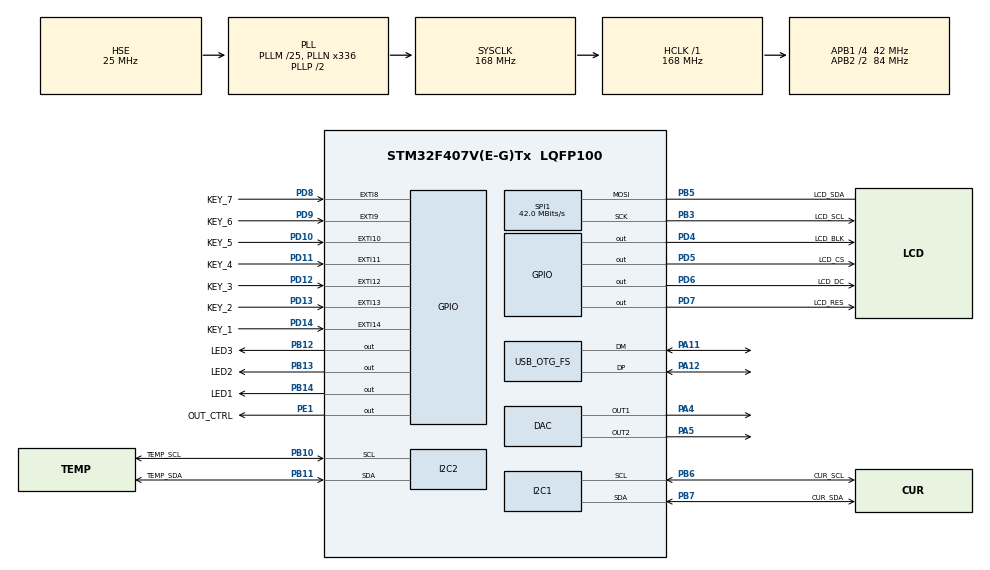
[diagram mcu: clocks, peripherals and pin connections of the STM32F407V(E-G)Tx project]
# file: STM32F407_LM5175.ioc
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Dma.Request0=SPI1_TX
Dma.SPI1_TX.0.Direction=DMA_MEMORY_TO_PERIPH
Dma.SPI1_TX.0.FIFOMode=DMA_FIFOMODE_DISABLE
Dma.SPI1_TX.0.Instance=DMA2_Stream3
Dma.SPI1_TX.0.MemDataAlignment=DMA_MDATAALIGN_BYTE
Dma.SPI1_TX.0.MemInc=DMA_MINC_ENABLE
Dma.SPI1_TX.0.Mode=DMA_NORMAL
Dma.SPI1_TX.0.PeriphDataAlignment=DMA_PDATAALIGN_BYTE
Dma.SPI1_TX.0.PeriphInc=DMA_PINC_DISABLE
Dma.SPI1_TX.0.Priority=DMA_PRIORITY_LOW
I2C2.I2C_Mode=I2C_Standard
Mcu.Family=STM32F4
Mcu.Name=STM32F407V(E-G)Tx
Mcu.Package=LQFP100
NVIC.DMA2_Stream3_IRQn=true\:0\:0\:false\:false\:true\:false\:true\:true
NVIC.EXTI15_10_IRQn=true\:0\:0\:false\:false\:true\:true\:true\:true
NVIC.EXTI9_5_IRQn=true\:0\:0\:false\:false\:true\:true\:true\:true
NVIC.OTG_FS_IRQn=true\:0\:0\:false\:false\:true\:true\:true\:true
NVIC.PriorityGroup=NVIC_PRIORITYGROUP_4
NVIC.SPI1_IRQn=true\:0\:0\:false\:false\:true\:true\:true\:true
NVIC.TIM6_DAC_IRQn=true\:0\:0\:false\:false\:true\:true\:true\:true
NVIC.TIM7_IRQn=true\:0\:0\:false\:false\:true\:true\:true\:true
NVIC.TIM8_TRG_COM_TIM14_IRQn=true\:0\:0\:false\:false\:true\:true\:true\:true
NVIC.TIM8_UP_TIM13_IRQn=true\:0\:0\:false\:false\:true\:true\:true\:true
PA11.Mode=Device_Only
PA11.Signal=USB_OTG_FS_DM
PA12.Mode=Device_Only
PA12.Signal=USB_OTG_FS_DP
PA13.Mode=Serial_Wire
PA13.Signal=SYS_JTMS-SWDIO
PA14.Mode=Serial_Wire
PA14.Signal=SYS_JTCK-SWCLK
PA4.Signal=COMP_DAC1_group
PA5.Signal=COMP_DAC2_group
PB10.GPIO_Label=TEMP_SCL
PB10.GPIO_Pu=GPIO_PULLUP
PB10.Mode=I2C
PB10.Signal=I2C2_SCL
PB11.GPIO_Label=TEMP_SDA
PB11.GPIO_Pu=GPIO_PULLUP
PB11.Mode=I2C
PB11.Signal=I2C2_SDA
PB12.GPIO_Label=LED3
PB12.Signal=GPIO_Output
PB13.GPIO_Label=LED2
PB13.Signal=GPIO_Output
PB14.GPIO_Label=LED1
PB14.Signal=GPIO_Output
PB3.GPIO_Label=LCD_SCL
PB3.Mode=Simplex_Bidirectional_Master
PB3.Signal=SPI1_SCK
PB5.GPIO_Label=LCD_SDA
PB5.Mode=Simplex_Bidirectional_Master
PB5.Signal=SPI1_MOSI
PB6.GPIO_Label=CUR_SCL
PB6.GPIO_Pu=GPIO_PULLUP
PB6.Mode=I2C
PB6.Signal=I2C1_SCL
PB7.GPIO_Label=CUR_SDA
PB7.GPIO_Pu=GPIO_PULLUP
PB7.Mode=I2C
PB7.Signal=I2C1_SDA
PD10.GPIO_Label=KEY_5
PD10.GPIO_ModeDefaultEXTI=GPIO_MODE_IT_FALLING
PD10.Signal=GPXTI10
PD11.GPIO_Label=KEY_4
PD11.GPIO_ModeDefaultEXTI=GPIO_MODE_IT_FALLING
PD11.Signal=GPXTI11
PD12.GPIO_Label=KEY_3
PD12.GPIO_ModeDefaultEXTI=GPIO_MODE_IT_FALLING
PD12.Signal=GPXTI12
PD13.GPIO_Label=KEY_2
PD13.GPIO_ModeDefaultEXTI=GPIO_MODE_IT_FALLING
PD13.Signal=GPXTI13
PD14.GPIO_Label=KEY_1
PD14.GPIO_ModeDefaultEXTI=GPIO_MODE_IT_FALLING
PD14.Signal=GPXTI14
PD4.GPIO_Label=LCD_BLK
PD4.Signal=GPIO_Output
PD5.GPIO_Label=LCD_CS
PD5.Signal=GPIO_Output
PD6.GPIO_Label=LCD_DC
PD6.Signal=GPIO_Output
PD7.GPIO_Label=LCD_RES
PD7.Signal=GPIO_Output
PD8.GPIO_Label=KEY_7
PD8.GPIO_ModeDefaultEXTI=GPIO_MODE_IT_FALLING
PD8.Signal=GPXTI8
PD9.GPIO_Label=KEY_6
PD9.GPIO_ModeDefaultEXTI=GPIO_MODE_IT_FALLING
PD9.Signal=GPXTI9
PE1.GPIO_Label=OUT_CTRL
PE1.Signal=GPIO_Output
PH0-OSC_IN.Mode=HSE-External-Oscillator
PH0-OSC_IN.Signal=RCC_OSC_IN
PH1-OSC_OUT.Mode=HSE-External-Oscillator
PH1-OSC_OUT.Signal=RCC_OSC_OUT
ProjectManager.HeapSize=0x200
ProjectManager.StackSize=0x1000
ProjectManager.TargetToolchain=STM32CubeIDE
RCC.48MHZClocksFreq_Value=48000000
RCC.AHBFreq_Value=168000000
RCC.APB1CLKDivider=RCC_HCLK_DIV4
RCC.APB1Freq_Value=42000000
RCC.APB1TimFreq_Value=84000000
RCC.APB2CLKDivider=RCC_HCLK_DIV2
RCC.APB2Freq_Value=84000000
RCC.APB2TimFreq_Value=168000000
RCC.CortexFreq_Value=168000000
RCC.HCLKFreq_Value=168000000
RCC.HSE_VALUE=25000000
RCC.HSI_VALUE=16000000
RCC.LSE_VALUE=32768
RCC.PLLM=25
RCC.PLLN=336
RCC.PLLQ=7
RCC.SYSCLKFreq_VALUE=168000000
RCC.SYSCLKSource=RCC_SYSCLKSOURCE_PLLCLK
RCC.VCOOutputFreq_Value=336000000
SH.COMP_DAC1_group.0=DAC_OUT1,DAC_OUT1
SH.COMP_DAC2_group.0=DAC_OUT2,DAC_OUT2
SPI1.CalculateBaudRate=42.0 MBits/s
SPI1.Direction=SPI_DIRECTION_1LINE
SPI1.Mode=SPI_MODE_MASTER
SPI1.VirtualType=VM_MASTER
TIM13.AutoReloadPreload=TIM_AUTORELOAD_PRELOAD_ENABLE
TIM13.Period=999
TIM13.Prescaler=83
TIM14.AutoReloadPreload=TIM_AUTORELOAD_PRELOAD_ENABLE
TIM14.Period=999
TIM14.Prescaler=419
TIM6.AutoReloadPreload=TIM_AUTORELOAD_PRELOAD_ENABLE
TIM6.Period=999
TIM6.Prescaler=83
TIM7.AutoReloadPreload=TIM_AUTORELOAD_PRELOAD_ENABLE
TIM7.Period=999
TIM7.Prescaler=83
USB_DEVICE.CLASS_NAME_FS=CDC
USB_DEVICE.CONFIGURATION_STRING_CDC_FS=UF4 Config
USB_DEVICE.INTERFACE_STRING_CDC_FS=UF4 Interface
USB_DEVICE.MANUFACTURER_STRING-CDC_FS=UF4Device
USB_DEVICE.PID_CDC_FS=12312
USB_DEVICE.PRODUCT_STRING_CDC_FS=Power Port
USB_DEVICE.VirtualMode-CDC_FS=Cdc
USB_DEVICE.VirtualModeFS=Cdc_FS
USB_OTG_FS.VirtualMode=Device_Only
VP_TIM13_VS_ClockSourceINT.Mode=Enable_Timer
VP_TIM14_VS_ClockSourceINT.Mode=Enable_Timer
VP_TIM6_VS_ClockSourceINT.Mode=Enable_Timer
VP_TIM7_VS_ClockSourceINT.Mode=Enable_Timer
VP_USB_DEVICE_VS_USB_DEVICE_CDC_FS.Mode=CDC_FS
board=custom

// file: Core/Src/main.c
/* USER CODE BEGIN Header */
/**
 ******************************************************************************
 * @file           : main.c
 * @brief          : Main program body
 ******************************************************************************
 * @attention
 *
 * Copyright (c) 2025 STMicroelectronics.
 * All rights reserved.
 *
 * This software is licensed under terms that can be found in the LICENSE file
 * in the root directory of this software component.
 * If no LICENSE file comes with this software, it is provided AS-IS.
 *
 ******************************************************************************
 */
/* USER CODE END Header */
#include "main.h"
#include "dac.h"
#include "dma.h"
#include "i2c.h"
#include "spi.h"
#include "tim.h"
#include "usb_device.h"
#include "gpio.h"

/* USER CODE BEGIN Includes */
#include "ina226.h"
#include "key.h"
#include "lv_port_disp.h"
#include "st7789.h"
#include "uf4power.h"
#include "ui.h"
#include "usbd_cdc_if.h" // 里面有 CDC_Transmit_FS
#include "ui_const.h"
#include <stdio.h>       // 重定向 printf
/* USER CODE END Includes */

/* USER CODE BEGIN PTD */
int _write(int file, char *ptr, int len)
{
    CDC_Transmit_FS((uint8_t *)ptr, len); // USB 虚拟串口发出去
}

/* USER CODE END PTD */

/* USER CODE BEGIN PM */
volatile uint8_t control_timer_flag = 0;
/* USER CODE END PM */

/* USER CODE BEGIN PV */

// 简单循环测试按键
/* USER CODE END PV */

void SystemClock_Config(void);

/* USER CODE BEGIN 0 */

static void update_labels_cb(lv_timer_t *timer)
{
    float Vout = INA226_BusVoltage();
    static char buf[16];
    snprintf(buf, sizeof(buf), "%05.2f", Vout);
    lv_label_set_text(VoutLabel, buf);
    lv_label_set_text(DEBUG_VOUT_Label, buf);

    float Iout = INA226_Current();
    static char buf2[16];
    snprintf(buf2, sizeof(buf2), "%05.2f", Iout);
    lv_label_set_text(IoutLabel, buf2);

    float Pout = INA226_Power();
    static char buf3[16];
    snprintf(buf3, sizeof(buf3), "%05.2f", Pout);
    lv_label_set_text(PoutLabel, buf3);

    printf("Vout: %05.2f V\n", Vout);
    printf("Iout: %05.2f A\n", Iout);
    printf("Pout: %05.2f W\n", Pout);
}

void ui_task_init(void)
{

    lv_timer_t *t = lv_timer_create(update_labels_cb, 500, NULL);
    if (!t)
    {
        lv_label_set_text(DEBUG_1_Label, "Error: lv_timer_create");
        return;
    }
    else{
        lv_label_set_text(DEBUG_1_Label, "Inited: lv_timer_create!");
    }
}

void HAL_TIM_PeriodElapsedCallback(TIM_HandleTypeDef *htim)
{ // LVGL心跳与刷新

    if (htim->Instance == htim6.Instance)
    {
        lv_tick_inc(1);
    }
    if (htim->Instance == htim7.Instance)
    {
        control_timer_flag = 1;  // 设置标志位
    }

}

/* USER CODE END 0 */

int main(void)
{

  /* MCU Configuration--------------------------------------------------------*/

  /* Reset of all peripherals, Initializes the Flash interface and the Systick. */
  HAL_Init();

  /* Configure the system clock */
  SystemClock_Config();

  /* Initialize all configured peripherals */
  MX_GPIO_Init();
  MX_DMA_Init();
  MX_TIM6_Init();
  MX_TIM7_Init();
  MX_SPI1_Init();
  MX_I2C1_Init();
  MX_I2C2_Init();
  MX_USB_DEVICE_Init();
  MX_DAC_Init();
  MX_TIM13_Init();
  MX_TIM14_Init();
  /* USER CODE BEGIN 2 */
    HAL_TIM_Base_Start_IT(&htim6);
    HAL_TIM_Base_Start_IT(&htim7);

    ST7789_Init();
    HAL_Delay(100);

    lv_init();
    lv_port_disp_init();
    HAL_Delay(100);
    ui_init();
    HAL_Delay(100);

    VPID_init();
    IPID_init();

    ui_task_init();

    HAL_Delay(100);
    Control_Init();

    HAL_DAC_Start(&hdac, DAC_CHANNEL_1); // 电流
    HAL_DAC_Start(&hdac, DAC_CHANNEL_2); // 电压

  /* USER CODE END 2 */

  /* Infinite loop */
  /* USER CODE BEGIN WHILE */
  while (1)
  {
      if (control_timer_flag){
          control_timer_flag = 0;
          control_timer_cb();
      }

    /* USER CODE END WHILE */

    /* USER CODE BEGIN 3 */
      lv_task_handler();
      HAL_Delay(5);
    }
  /* USER CODE END 3 */
}

void SystemClock_Config(void)
{
  RCC_OscInitTypeDef RCC_OscInitStruct = {0};
  RCC_ClkInitTypeDef RCC_ClkInitStruct = {0};

  /** Configure the main internal regulator output voltage
  */
  __HAL_RCC_PWR_CLK_ENABLE();
  __HAL_PWR_VOLTAGESCALING_CONFIG(PWR_REGULATOR_VOLTAGE_SCALE1);

  /** Initializes the RCC Oscillators according to the specified parameters
  * in the RCC_OscInitTypeDef structure.
  */
  RCC_OscInitStruct.OscillatorType = RCC_OSCILLATORTYPE_HSE;
  RCC_OscInitStruct.HSEState = RCC_HSE_ON;
  RCC_OscInitStruct.PLL.PLLState = RCC_PLL_ON;
  RCC_OscInitStruct.PLL.PLLSource = RCC_PLLSOURCE_HSE;
  RCC_OscInitStruct.PLL.PLLM = 25;
  RCC_OscInitStruct.PLL.PLLN = 336;
  RCC_OscInitStruct.PLL.PLLP = RCC_PLLP_DIV2;
  RCC_OscInitStruct.PLL.PLLQ = 7;
  if (HAL_RCC_OscConfig(&RCC_OscInitStruct) != HAL_OK)
  {
    Error_Handler();
  }

  /** Initializes the CPU, AHB and APB buses clocks
  */
  RCC_ClkInitStruct.ClockType = RCC_CLOCKTYPE_HCLK|RCC_CLOCKTYPE_SYSCLK
                              |RCC_CLOCKTYPE_PCLK1|RCC_CLOCKTYPE_PCLK2;
  RCC_ClkInitStruct.SYSCLKSource = RCC_SYSCLKSOURCE_PLLCLK;
  RCC_ClkInitStruct.AHBCLKDivider = RCC_SYSCLK_DIV1;
  RCC_ClkInitStruct.APB1CLKDivider = RCC_HCLK_DIV4;
  RCC_ClkInitStruct.APB2CLKDivider = RCC_HCLK_DIV2;

  if (HAL_RCC_ClockConfig(&RCC_ClkInitStruct, FLASH_LATENCY_5) != HAL_OK)
  {
    Error_Handler();
  }
}

void Error_Handler(void)
{
    __disable_irq();
    while (1)
    {
    }
}
